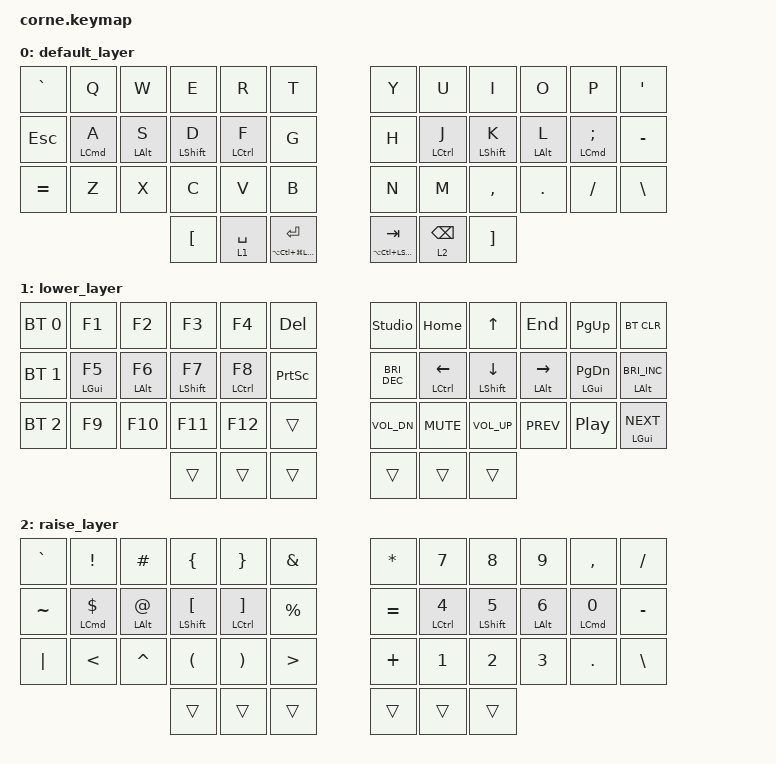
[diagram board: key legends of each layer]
/*
 * Copyright (c) 2020 The ZMK Contributors
 *
 * SPDX-License-Identifier: MIT
 */

#include <behaviors.dtsi>
#include <dt-bindings/zmk/bt.h>
#include <dt-bindings/zmk/keys.h>

&led_strip { chain-length = <27>; };

/ {
    behaviors {
        tp: tap_preferred {
            compatible = "zmk,behavior-hold-tap";
            label = "TAP_PREFERRED";
            #binding-cells = <2>;
            tapping-term-ms = <180>;
            quick-tap-ms = <100>;
            flavor = "tap-preferred";
            bindings = <&kp>, <&kp>;
        };
    };

    keymap {
        compatible = "zmk,keymap";

        default_layer {
            // -----------------------------------------------------------------------------------------
            // | TAB  |  Q   |  W   |  E  |  R  |  T  |   |  Y  |  U   |  I  |  O  |  P  |  -  |
            // | ESC  |  A   |  S   |  D  |  F  |  G  |   |  H  |  J   |  K  |  L  |  ;  |  '  |
            // | SHFT |  Z   |  X   |  C  |  V  |  B  |   |  N  |  M   |  ,  |  .  |  /  |  \  |
            //                       |  1  | RET | SPC |   | BSPC| DEL  |  2  |

            bindings = <
&kp GRAVE   &kp Q       &kp W           &kp E             &kp R        &kp T                        &kp Y                  &kp U            &kp I              &kp O           &kp P               &kp SQT
&kp ESCAPE  &tp LCMD A  &tp LEFT_ALT S  &tp LSHFT D       &tp LCTRL F  &kp G                        &kp H                  &tp LCTRL J      &tp LSHFT K        &tp LEFT_ALT L  &tp LCMD SEMICOLON  &kp MINUS
&kp EQUAL   &kp Z       &kp X           &kp C             &kp V        &kp B                        &kp N                  &kp M            &kp COMMA          &kp DOT         &kp FSLH            &kp BSLH
                                        &kp LEFT_BRACKET  &lt 1 SPACE  &tp LA(LC(LG(LSHFT))) RET    &tp LA(LC(LSHFT)) TAB  &lt 2 BACKSPACE  &kp RIGHT_BRACKET
            >;
        };

        lower_layer {
            // -----------------------------------------------------------------------------------------
            // |       |   1   |   2   |   3   |   4   |   5   |   |   6   |   7   |   8   |   9   |   0   |       |
            // |  F1   |  F2   |  F3   |  F4   |  F5   |  F6   |   |  F7   |  F8   |  F9   |  F10  |  F11  |  F12  |
            // | BTCLR |  BT1  |  BT2  |  BT3  |  BT4  |  BT5  |   |       |       |       |       |       |       |
            //                         |       |       |       |   |       |       |       |

            bindings = <
&bt BT_SEL 0  &kp F1       &kp F2       &kp F3        &kp F4        &kp DELETE         &studio_unlock  &kp HOME              &kp UP_ARROW    &kp END         &kp PG_UP           &bt BT_CLR
&bt BT_SEL 1  &tp LGUI F5  &tp LALT F6  &tp LSHFT F7  &tp LCTRL F8  &kp PRINTSCREEN    &kp C_BRI_DEC   &tp LCTRL LEFT_ARROW  &tp LSHFT DOWN  &tp LALT RIGHT  &tp LGUI PAGE_DOWN  &tp LALT C_BRIGHTNESS_INC
&bt BT_SEL 2  &kp F9       &kp F10      &kp F11       &kp F12       &trans             &kp C_VOL_DN    &kp C_MUTE            &kp C_VOL_UP    &kp C_PREV      &kp C_PP            &tp LGUI C_NEXT
                                        &trans        &trans        &trans             &trans          &trans                &trans
            >;
        };

        raise_layer {
            // -----------------------------------------------------------------------------------------
            // |  `  |  !  |  @  |  [  |  ]  |  ^  |    |  .  | HOME |  UP  |  END  |  *  |     |
            // |  ~  |  #  |  $  |  (  |  )  |  &  |    |  +  | LEFT | DOWN | RIGHT |  =  |     |
            // |  :  |  <  |  >  |  {  |  }  |  "  |    |  ,  | PGUP | PSCRN| PGDN  |  %  |     |
            //                   |     |  0  |     |    |     |      |      |

            bindings = <
&kp GRAVE  &kp EXCL         &kp HASH          &kp LBRC                &kp RBRC                 &kp AMPS       &kp ASTERISK  &kp N7        &kp N8        &kp N9       &kp COMMA    &kp FSLH
&kp TILDE  &tp LCMD DOLLAR  &tp LALT AT_SIGN  &tp LSHFT LEFT_BRACKET  &tp LCTRL RIGHT_BRACKET  &kp PERCENT    &kp EQUAL     &tp LCTRL N4  &tp LSHFT N5  &tp LALT N6  &tp LCMD N0  &kp MINUS
&kp PIPE   &kp LT           &kp CARET         &kp LPAR                &kp RPAR                 &kp GT         &kp PLUS      &kp N1        &kp N2        &kp N3       &kp DOT      &kp BSLH
                                              &trans                  &trans                   &trans         &trans        &trans        &trans
            >;
        };
    };
};
